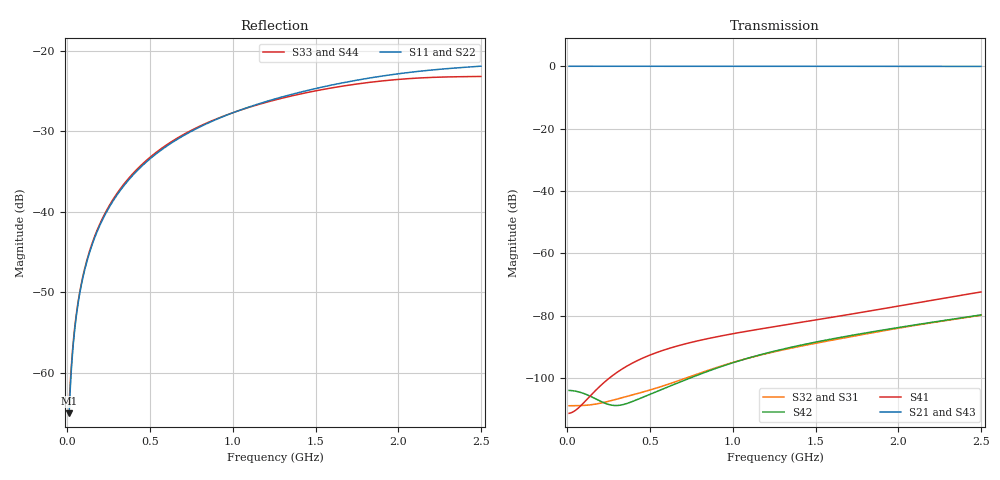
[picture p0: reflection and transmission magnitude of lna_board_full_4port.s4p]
! Created with skrf 2.1.0 (http://scikit-rf.org).
# Hz S RI R 50.0
!freq ReS11 ImS11 ReS12 ImS12 ReS13 ImS13
! ReS14 ImS14
! ReS21 ImS21 ReS22 ImS22 ReS23 ImS23
! ReS24 ImS24
! ReS31 ImS31 ReS32 ImS32 ReS33 ImS33
! ReS34 ImS34
! ReS41 ImS41 ReS42 ImS42 ReS43 ImS43
! ReS44 ImS44
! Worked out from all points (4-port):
!   491 points, 10 MHz to 2.5 GHz, reference 50 ohm
!   strongest paths, dB at 10 MHz, 630 MHz, 1.255 GHz, 1.88 GHz, 2.5 GHz:
!     S21: 0.0, 0.0, 0.0, -0.1, -0.1
!     S43: 0.0, 0.0, 0.0, 0.0, -0.1
!     S41: -111.3, -90.3, -83.5, -78.1, -72.4
!     S42: -104.0, -102.4, -91.4, -84.9, -79.8
!     S32: -108.9, -101.7, -91.6, -85.2, -79.9
!     S31: -108.9, -101.7, -91.6, -85.2, -79.9
!   lowest |S11| = -65.1 dB at 10 MHz (marker M1), VSWR 1.00, Z = 50 + j0.0414 ohm
!   |S11| at or under -10 dB: start of sweep to end of sweep
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1e7  0.000374 0.000413  0.9968 -0.00359  -3.57e-06 2.28e-07  1.84e-06 3.03e-07
     0.9968 -0.00359  0.000374 0.000413  -3.57e-06 2.28e-07  -6.3e-06 1.68e-07
     -3.57e-06 2.28e-07  -3.57e-06 2.28e-07  0.000489 0.00042  0.9954 -0.0044
     2.69e-06 3.06e-07  -6.3e-06 1.68e-07  0.9954 -0.0044  0.000489 0.00042
6.081633e7  0.000381 0.00252  0.9967 -0.0218  -3.33e-06 1.36e-06  1.76e-06 1.88e-06
            0.9967 -0.0218  0.000381 0.00252  -3.33e-06 1.36e-06  -5.96e-06 9.99e-07
            -3.33e-06 1.36e-06  -3.33e-06 1.36e-06  0.000499 0.00256  0.9953 -0.0268
            2.59e-06 1.9e-06  -5.96e-06 9.99e-07  0.9953 -0.0268  0.000499 0.00256
1.472041e8  0.000436 0.00614  0.9963 -0.0532  -2.26e-06 2.97e-06  1.53e-06 4.95e-06
            0.9963 -0.0532  0.000436 0.00614  -2.26e-06 2.97e-06  -4.45e-06 2.2e-06
            -2.26e-06 2.97e-06  -2.26e-06 2.97e-06  0.000577 0.00625  0.9947 -0.0655
            2.24e-06 4.99e-06  -4.45e-06 2.2e-06  0.9947 -0.0655  0.000577 0.00625
2.945714e8  0.00085 0.0125  0.9935 -0.1082  1.05e-07 4.54e-06  2.1e-06 1.17e-05
            0.9935 -0.1082  0.00085 0.0125  1.05e-07 4.54e-06  -1.02e-06 3.46e-06
            1.05e-07 4.54e-06  1.05e-07 4.54e-06  0.00112 0.0127  0.9903 -0.1334
            2.52e-06 1.18e-05  -1.02e-06 3.46e-06  0.9903 -0.1334  0.00112 0.0127
5.130816e8  0.00255 0.0218  0.9816 -0.1905  2.05e-06 6.24e-06  7.73e-06 2.27e-05
            0.9816 -0.1905  0.00255 0.0218  2.05e-06 6.24e-06  2.13e-06 5.25e-06
            2.05e-06 6.24e-06  2.05e-06 6.24e-06  0.00331 0.0221  0.9721 -0.235
            7.82e-06 2.28e-05  2.13e-06 5.25e-06  0.9721 -0.235  0.00331 0.0221
1.661531e9  0.0228 0.0589  0.8105 -0.578  3.54e-05 2.49e-05  9.57e-05 2.85e-05
            0.8105 -0.578  0.0228 0.0589  3.54e-05 2.49e-05  3.96e-05 2.19e-05
            3.54e-05 2.49e-05  3.54e-05 2.49e-05  0.0262 0.0543  0.7168 -0.6907
            9.57e-05 2.84e-05  3.96e-05 2.19e-05  0.7168 -0.6907  0.0262 0.0543
2.5e9  0.0391 0.0702  0.5958 -0.7914  0.000101 4.27e-06  0.000188 -0.000149
       0.5958 -0.7914  0.0391 0.0702  0.000101 4.27e-06  9.94e-05 -2.47e-05
       0.000101 4.27e-06  0.000101 4.27e-06  0.0375 0.0583  0.408 -0.9013
       0.000187 -0.000148  9.94e-05 -2.47e-05  0.408 -0.9013  0.0375 0.0583
